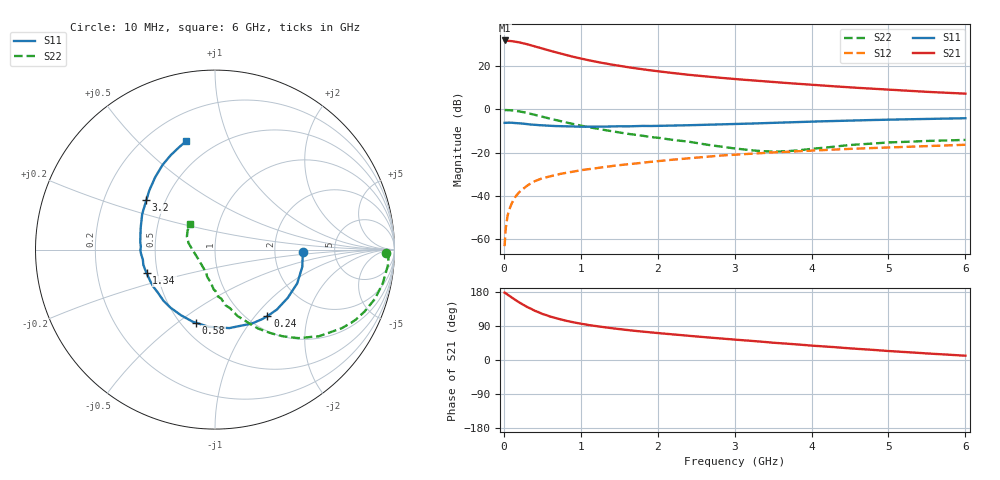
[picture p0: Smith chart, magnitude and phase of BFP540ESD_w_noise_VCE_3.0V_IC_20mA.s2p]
! Infineon Technologies  Discrete & RF Semiconductors
! BFP540ESD
! VCE =  3.0 V,  IC =  20 mA
! Common Emitter S-Parameters:  Nov 2015
# GHz  S  MA  R  50
!  f  S11  S21  S12  S22
! GHz  MAG  ANG  MAG  ANG  MAG  ANG  MAG  ANG
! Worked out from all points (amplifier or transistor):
!   210 points, 10 MHz to 6 GHz, reference 50 ohm
!   highest |S21| = 31.8 dB at 10 MHz (marker M1)
!   |S21| within 3 dB of that: start of sweep to 429.1 MHz
!   unconditionally stable (mu >= 1): start of sweep to 11.46 MHz; 2.155 GHz to end of sweep
!   at 185 MHz: K = 0.20, MSG = 34.9 dB, |S12| = -38.8 dB
!   at 1.52 GHz: K = 0.89, MSG = 22.8 dB, |S12| = -25.6 dB
!   at 6 GHz: K = 1.11, MAG = 9.7 dB, |S12| = -16.3 dB
!   lowest NFmin = 1.17 dB at 900 MHz
!   S11 on the Smith chart (normalised r, x): 10 MHz: 2.92, -0.11; 240 MHz: 1.22, -1.16; 580 MHz: 0.59, -0.59; 1.34 GHz: 0.44, -0.14; 3.2 GHz: 0.39, +0.28; 6 GHz: 0.36, +0.71
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0.01  0.4901 -1.6  38.97 177.8  0.0007 105.0  0.9524 -1.3
0.02  0.4898 -4.5  38.37 176.9  0.0014 97.6  0.9684 -1.9
0.05  0.4958 -11.2  38.37 172.3  0.0036 85.3  0.9666 -5.5
0.1  0.4952 -22.4  37.72 165.3  0.0066 83.8  0.9533 -11.4
0.15  0.4863 -33.6  36.63 158.5  0.0096 78.3  0.9325 -17.1
0.2  0.4799 -44.1  35.21 152.0  0.0123 75.2  0.902 -22.5
0.24  0.4722 -51.8  33.92 147.2  0.0142 73.2  0.8755 -26.5
0.3  0.4608 -63.2  31.99 140.2  0.0172 70.2  0.83 -31.9
0.4  0.4445 -79.7  28.54 130.2  0.022 66.8  0.7532 -39.9
0.5  0.4315 -94.7  25.48 121.7  0.0258 63.3  0.6778 -46.7
0.58  0.4212 -104.6  23.11 116.3  0.0279 61.3  0.6244 -50.9
0.7  0.412 -117.4  20.23 109.1  0.0317 60.1  0.5547 -56.7
0.8  0.4076 -127.4  18.13 103.9  0.0342 58.1  0.5032 -61.2
1.02  0.3985 -143.5  14.65 95.1  0.04 57.2  0.4165 -68.4
1.34  0.4023 -160.9  11.32 85.7  0.0477 55.8  0.3283 -77.1
1.7  0.4118 -176.1  8.937 77.0  0.0562 54.2  0.2619 -86.3
2.02  0.4189 173.9  7.512 70.7  0.0645 52.4  0.2202 -92.1
3.1  0.4654 146.6  4.866 52.4  0.0922 45.2  0.12 -123.1
3.2  0.4711 144.4  4.713 50.8  0.0946 44.2  0.115 -128.4
4.1  0.529 127.9  3.599 36.7  0.1143 36.5  0.1277 179.1
5.1  0.5851 113.9  2.793 22.5  0.1346 27.8  0.1753 152.6
6  0.6257 104.8  2.31 11.3  0.153 21.2  0.1982 134.2
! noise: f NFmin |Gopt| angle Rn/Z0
0.9  1.17  0.28  -137  0.11
1.8  1.32  0.31  -144  0.11
2.4  1.35  0.32  -135  0.12
3  1.45  0.35  -130  0.13
4  1.53  0.47  -104  0.22
5  1.66  0.56  -87  0.31
6  1.97  0.55  -87  0.57
